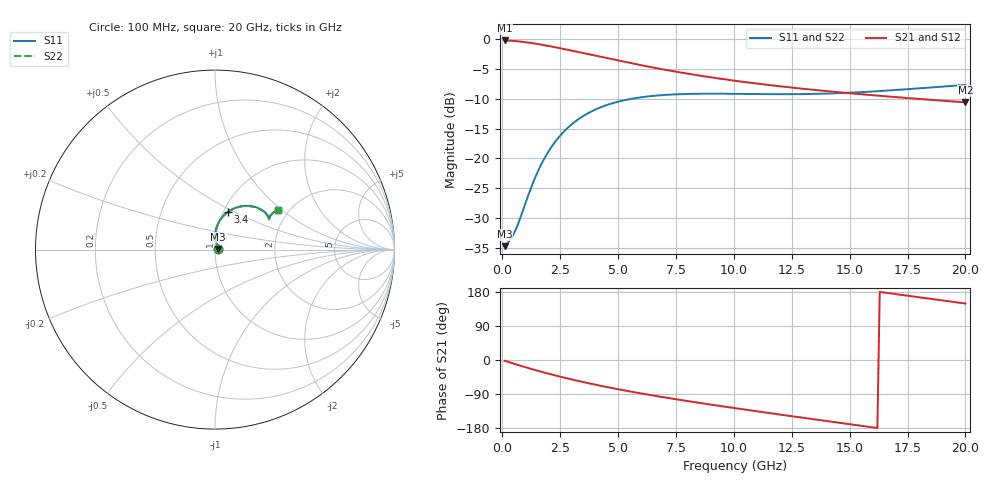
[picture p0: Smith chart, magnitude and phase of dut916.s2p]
! Touchstone file exported from HFSS 2024.1.0
!  File:  C:/UserFiles/LocalFiles/RDL_TSV_Batchsim/temp_RDL_TSV_916_1779957318.aedt
!  Generated:  04:48:25 PM May 28, 2026
!  Design:  RDL_TSV
!  Project:  temp_RDL_TSV_916_1779957318
!  Setup:  Setup1
!  Solution:  Sweep
! Variables:
!  dtsv = 10.43um
!  hbump = 3um
!  htsv = 87.09um
!  ldown = 379.09um
!  lrdl = 409.13um
!  p = 40
!  p1 = 58.89um
!  rhole = 10um
!  subl = 2773.79um
!  t = 450um
!  tdown = 3.62um
!  trdl = 3.76um
!  viad = 10um
!  wdown = 21.67um
!  wrdl = 11.73um
!  xbump = 18um
# GHz S MA R 50.000000
! Terminal data exported
! Port[1] = TM1_1_T1
! Port[2] = TM1_4_T1
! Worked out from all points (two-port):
!   200 points, 100 MHz to 20 GHz, reference 50 ohm
!   highest |S21| = -0.17 dB at 100 MHz (marker M1); lowest = -10.6 dB at 20 GHz (marker M2)
!   |S21| within 3 dB of the highest: start of sweep to 4.549 GHz
!   lowest |S11| = -34.7 dB at 100 MHz (marker M3), VSWR 1.04, Z = 51.8 + j0.373 ohm
!   |S11| at or under -10 dB: start of sweep to 5.543 GHz
!   |S22| runs from -34.7 to -7.7 dB; largest |S21 - S12| = 8.5e-14
!   S11 on the Smith chart (normalised r, x): 100 MHz: 1.04, +0.01; 3.4 GHz: 1.05, +0.46; 20 GHz: 1.77, +0.94
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0.1  0.01834 11.3  0.9804 -2.0  0.9804 -2.0  0.0183 11.2
! Gamma 0 0 0 0
! Port Impedance 50 0 50 0
0.4  0.02162 40.1  0.9742 -7.8  0.9742 -7.8  0.02151 39.9
0.6  0.02571 57.1  0.9674 -11.7  0.9674 -11.7  0.02553 57.0
1  0.04205 80.0  0.9485 -19.1  0.9485 -19.1  0.04177 80.1
1.4  0.06773 87.9  0.924 -26.2  0.924 -26.2  0.06737 88.0
1.9  0.1067 87.6  0.8887 -34.6  0.8887 -34.6  0.1062 87.6
2.2  0.1313 85.1  0.8662 -39.4  0.8662 -39.4  0.1307 85.1
2.6  0.1635 80.8  0.8357 -45.5  0.8357 -45.5  0.1628 80.8
3  0.1938 76.0  0.8052 -51.4  0.8052 -51.4  0.193 76.0
3.4  0.2213 71.2  0.7751 -56.9  0.7751 -56.9  0.2204 71.2
3.5  0.2277 70.0  0.7677 -58.3  0.7677 -58.3  0.2268 70.0
4.2  0.2668 62.3  0.7177 -67.4  0.7177 -67.4  0.2656 62.2
5.1  0.3033 53.6  0.6589 -78.3  0.6589 -78.3  0.3018 53.6
5.9  0.3247 47.3  0.6125 -87.2  0.6125 -87.2  0.323 47.3
6.8  0.3394 41.6  0.5669 -96.6  0.5669 -96.6  0.3375 41.6
8.3  0.3493 34.9  0.5047 -111.2  0.5047 -111.2  0.3471 34.8
10.1  0.3491 30.5  0.4482 -127.5  0.4482 -127.5  0.3468 30.5
11.7  0.3469 29.2  0.41 -141.5  0.41 -141.5  0.3445 29.3
13.4  0.3485 29.6  0.378 -155.9  0.378 -155.9  0.3462 29.8
15  0.3567 30.8  0.3533 -169.4  0.3533 -169.4  0.3546 30.9
16.7  0.3725 31.9  0.3312 176.3  0.3312 176.3  0.3707 32.1
20  0.4148 31.9  0.296 148.9  0.296 148.9  0.4133 32.0
